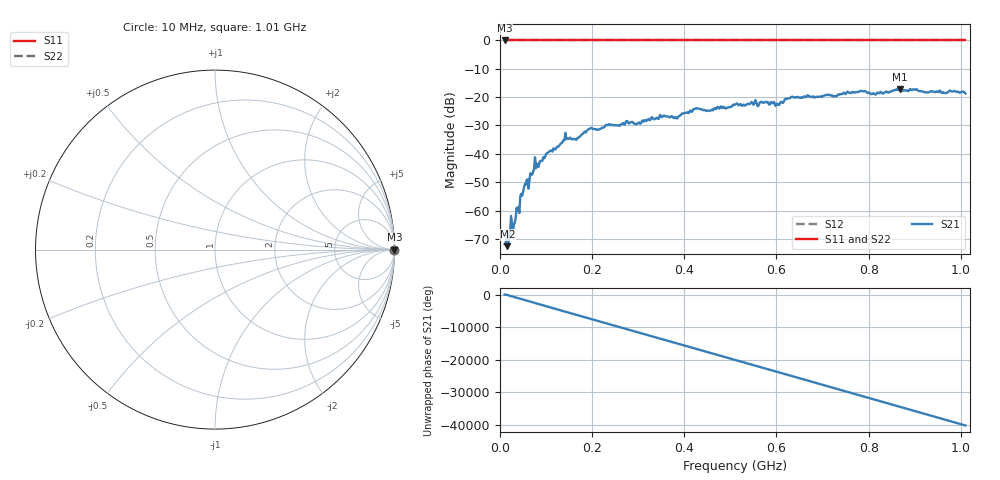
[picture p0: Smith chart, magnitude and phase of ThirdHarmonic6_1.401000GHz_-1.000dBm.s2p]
! 8/16/2025 4:01:14 PM
! C:\ANRITSUVNA\TEMP\TEMP.S2P
! CHANNEL.1
! TR.MEASUREMENT
! RAW.DATA
! RF.CORRECTION.OFF
! AVERAGING.OFF
! IF.BANDWIDTH: 5KHZ
! SWEEPTYPE:  FREQ.SWEEP(Linear)
! Reference Plane Port Info
! PORT:  PORT1  PORT2
! DISTANCE:  0  m  0  m
! TIME:  0  s  0  s
! PHASE.OFFSET:  0  deg.  0  deg.
! LOSS:  0  dB  0  dB
! REF.LOSS:  0  dB  0  dB
! REF.FREQ:  0  Hz  0  Hz
! Power Info
! POWER:  -20  dBm  -20  dBm
! EFF.POWER:  -20  dBm  -20  dBm
! SOURCE.ATTEN:  0  dB  0  dB
! TEST.ATTEN:  0  dB  0  dB
# GHZ S RI R 50.0
! FREQ.GHZ  S11RE  S11IM  S21RE  S21IM  S12RE  S12IM  S22RE  S22IM
!; PortSelection: Port_12
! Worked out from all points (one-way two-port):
!   501 points, 10 MHz to 1.01 GHz, reference 50 ohm
!   highest |S21| = -17.09 dB at 868 MHz (marker M1); lowest = -72.6 dB at 16 MHz (marker M2)
!   lowest |S11| = 0.0 dB at 10 MHz (marker M3)
!   |S11| at or under -10 dB: nowhere
!   |S22| runs from 0.0 to 0.0 dB; largest |S21 - S12| = 1.1
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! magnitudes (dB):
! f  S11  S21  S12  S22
! 10 MHz  0.0  -71.8  0.0  0.0
! 16 MHz  0.0  -72.6  0.0  0.0
! 24 MHz  0.0  -61.9  0.0  0.0
! 30 MHz  0.0  -65.2  0.0  0.0
! 48 MHz  0.0  -54.8  0.0  0.0
! 76 MHz  0.0  -41.2  0.0  0.0
! 142 MHz  0.0  -32.6  0.0  0.0
! 164 MHz  0.0  -35.0  0.0  0.0
! 178 MHz  0.0  -33.1  0.0  0.0
! 196 MHz  0.0  -31.0  0.0  0.0
! 300 MHz  0.0  -29.1  0.0  0.0
! 344 MHz  0.0  -27.7  0.0  0.0
! 382 MHz  0.0  -27.1  0.0  0.0
! 424 MHz  0.0  -24.1  0.0  0.0
! 452 MHz  0.0  -24.7  0.0  0.0
! 510 MHz  0.0  -22.7  0.0  0.0
! 602 MHz  0.0  -22.3  0.0  0.0
! 632 MHz  0.0  -20.0  0.0  0.0
! 678 MHz  0.0  -19.9  0.0  0.0
! 844 MHz  0.0  -18.3  0.0  0.0
! 868 MHz  0.0  -17.1  0.0  0.0
! 1.01 GHz  0.0  -18.7  0.0  0.0
